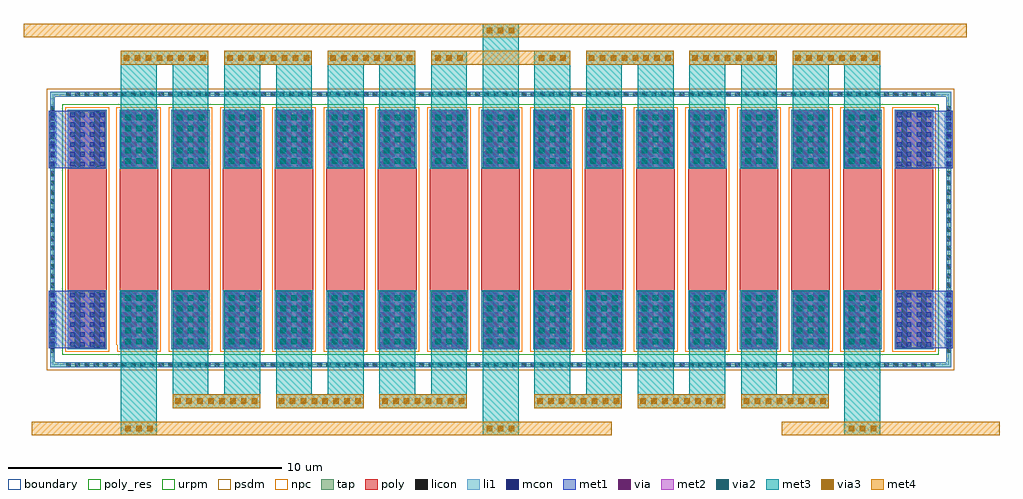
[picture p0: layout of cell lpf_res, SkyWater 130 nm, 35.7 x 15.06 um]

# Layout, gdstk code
import gdstk
lib = gdstk.Library(unit=1e-6, precision=1e-09)
def R(c, l, rs):  # rectangles x0, y0, x1, y1
    for r in rs: c.add(gdstk.rectangle(r[:2], r[2:], *l))
def A(c, l, x, y, w, h, nx, ny, dx, dy):  # array of equal rectangles
    R(c, l, [(x+i*dx, y+j*dy, x+i*dx+w, y+j*dy+h) for i in range(nx) for j in range(ny)])
tap = (65, 44)
poly_res = (66, 13)
poly = (66, 20)
licon = (66, 44)
li1 = (67, 20)
mcon = (67, 44)
met1 = (68, 20)
via = (68, 44)
met2 = (69, 20)
via2 = (69, 44)
met3 = (70, 20)
via3 = (70, 44)
met4 = (71, 20)
urpm = (79, 20)
psdm = (94, 20)
npc = (95, 20)
boundary = (235, 4)

lpf_res = lib.new_cell('lpf_res')
R(lpf_res, tap, [(-0.35,-0.35,32.6,-0.18), (-0.35,-0.18,-0.18,9.54), (32.43,-0.18,32.6,9.54), (-0.35,9.54,32.6,9.71)])
A(lpf_res, poly_res, 0.3, 2.4, 1.41, 4.56, 17, 1, 1.89, 0)
R(lpf_res, poly_res, [(0.505,6.96,0.565,7.225)])
A(lpf_res, poly, 0.3, 0.3, 1.41, 8.76, 17, 1, 1.89, 0)
A(lpf_res, licon, 0.23, -0.35, 0.17, 0.17, 94, 2, 0.34, 9.89)
A(lpf_res, licon, -0.35, 0.175, 0.17, 0.17, 1, 27, 0, 0.34)
A(lpf_res, licon, 32.43, 0.175, 0.17, 0.17, 1, 27, 0, 0.34)
R(lpf_res, licon, [(0.555,0.38,0.745,2.38), (1.265,0.38,1.455,2.38), (2.445,0.38,2.635,2.38), (3.155,0.38,3.345,2.38), (4.335,0.38,4.525,2.38), (5.045,0.38,5.235,2.38), (6.225,0.38,6.415,2.38), (6.935,0.38,7.125,2.38), (8.115,0.38,8.305,2.38), (8.825,0.38,9.015,2.38), (10.005,0.38,10.195,2.38), (10.715,0.38,10.905,2.38), (11.895,0.38,12.085,2.38), (12.605,0.38,12.795,2.38), (13.785,0.38,13.975,2.38), (14.495,0.38,14.685,2.38), (15.675,0.38,15.865,2.38), (16.385,0.38,16.575,2.38), (17.565,0.38,17.755,2.38), (18.275,0.38,18.465,2.38), (19.455,0.38,19.645,2.38), (20.165,0.38,20.355,2.38), (21.345,0.38,21.535,2.38), (22.055,0.38,22.245,2.38), (23.235,0.38,23.425,2.38), (23.945,0.38,24.135,2.38), (25.125,0.38,25.315,2.38), (25.835,0.38,26.025,2.38), (27.015,0.38,27.205,2.38), (27.725,0.38,27.915,2.38), (28.905,0.38,29.095,2.38), (29.615,0.38,29.805,2.38), (30.795,0.38,30.985,2.38), (31.505,0.38,31.695,2.38), (0.555,6.98,0.745,8.98), (1.265,6.98,1.455,8.98), (2.445,6.98,2.635,8.98), (3.155,6.98,3.345,8.98), (4.335,6.98,4.525,8.98), (5.045,6.98,5.235,8.98), (6.225,6.98,6.415,8.98), (6.935,6.98,7.125,8.98), (8.115,6.98,8.305,8.98), (8.825,6.98,9.015,8.98), (10.005,6.98,10.195,8.98), (10.715,6.98,10.905,8.98), (11.895,6.98,12.085,8.98), (12.605,6.98,12.795,8.98), (13.785,6.98,13.975,8.98), (14.495,6.98,14.685,8.98), (15.675,6.98,15.865,8.98), (16.385,6.98,16.575,8.98), (17.565,6.98,17.755,8.98), (18.275,6.98,18.465,8.98), (19.455,6.98,19.645,8.98), (20.165,6.98,20.355,8.98), (21.345,6.98,21.535,8.98), (22.055,6.98,22.245,8.98), (23.235,6.98,23.425,8.98), (23.945,6.98,24.135,8.98), (25.125,6.98,25.315,8.98), (25.835,6.98,26.025,8.98), (27.015,6.98,27.205,8.98), (27.725,6.98,27.915,8.98), (28.905,6.98,29.095,8.98), (29.615,6.98,29.805,8.98), (30.795,6.98,30.985,8.98), (31.505,6.98,31.695,8.98)])
A(lpf_res, li1, 0.3, 0.3, 1.41, 2.16, 17, 2, 1.89, 6.6)
R(lpf_res, li1, [(-0.35,-0.35,32.6,-0.18), (-0.35,-0.18,-0.18,9.54), (32.43,-0.18,32.6,9.54), (-0.35,9.54,32.6,9.71)])
A(lpf_res, mcon, 0.38, 0.395, 0.17, 0.17, 4, 6, 0.36, 0.36)
A(lpf_res, mcon, 2.27, 0.395, 0.17, 0.17, 4, 6, 0.36, 0.36)
A(lpf_res, mcon, 4.16, 0.395, 0.17, 0.17, 4, 6, 0.36, 0.36)
A(lpf_res, mcon, 6.05, 0.395, 0.17, 0.17, 4, 6, 0.36, 0.36)
A(lpf_res, mcon, 7.94, 0.395, 0.17, 0.17, 4, 6, 0.36, 0.36)
A(lpf_res, mcon, 9.83, 0.395, 0.17, 0.17, 4, 6, 0.36, 0.36)
A(lpf_res, mcon, 11.72, 0.395, 0.17, 0.17, 4, 6, 0.36, 0.36)
A(lpf_res, mcon, 13.61, 0.395, 0.17, 0.17, 4, 6, 0.36, 0.36)
A(lpf_res, mcon, 15.5, 0.395, 0.17, 0.17, 4, 6, 0.36, 0.36)
A(lpf_res, mcon, 17.39, 0.395, 0.17, 0.17, 4, 6, 0.36, 0.36)
A(lpf_res, mcon, 19.28, 0.395, 0.17, 0.17, 4, 6, 0.36, 0.36)
A(lpf_res, mcon, 21.17, 0.395, 0.17, 0.17, 4, 6, 0.36, 0.36)
A(lpf_res, mcon, 23.06, 0.395, 0.17, 0.17, 4, 6, 0.36, 0.36)
A(lpf_res, mcon, 24.95, 0.395, 0.17, 0.17, 4, 6, 0.36, 0.36)
A(lpf_res, mcon, 26.84, 0.395, 0.17, 0.17, 4, 6, 0.36, 0.36)
A(lpf_res, mcon, 28.73, 0.395, 0.17, 0.17, 4, 6, 0.36, 0.36)
A(lpf_res, mcon, 30.62, 0.395, 0.17, 0.17, 4, 6, 0.36, 0.36)
A(lpf_res, mcon, -0.35, 0.397, 0.17, 0.17, 1, 6, 0, 0.36)
A(lpf_res, mcon, 32.43, 0.397, 0.17, 0.17, 1, 6, 0, 0.36)
A(lpf_res, mcon, 0.38, 6.99, 0.17, 0.17, 4, 6, 0.36, 0.36)
A(lpf_res, mcon, 2.27, 6.99, 0.17, 0.17, 4, 6, 0.36, 0.36)
A(lpf_res, mcon, 4.16, 6.99, 0.17, 0.17, 4, 6, 0.36, 0.36)
A(lpf_res, mcon, 6.05, 6.99, 0.17, 0.17, 4, 6, 0.36, 0.36)
A(lpf_res, mcon, 7.94, 6.99, 0.17, 0.17, 4, 6, 0.36, 0.36)
A(lpf_res, mcon, 9.83, 6.99, 0.17, 0.17, 4, 6, 0.36, 0.36)
A(lpf_res, mcon, 11.72, 6.99, 0.17, 0.17, 4, 6, 0.36, 0.36)
A(lpf_res, mcon, 13.61, 6.99, 0.17, 0.17, 4, 6, 0.36, 0.36)
A(lpf_res, mcon, 15.5, 6.99, 0.17, 0.17, 4, 6, 0.36, 0.36)
A(lpf_res, mcon, 17.39, 6.99, 0.17, 0.17, 4, 6, 0.36, 0.36)
A(lpf_res, mcon, 19.28, 6.99, 0.17, 0.17, 4, 6, 0.36, 0.36)
A(lpf_res, mcon, 21.17, 6.99, 0.17, 0.17, 4, 6, 0.36, 0.36)
A(lpf_res, mcon, 23.06, 6.99, 0.17, 0.17, 4, 6, 0.36, 0.36)
A(lpf_res, mcon, 24.95, 6.99, 0.17, 0.17, 4, 6, 0.36, 0.36)
A(lpf_res, mcon, 26.84, 6.99, 0.17, 0.17, 4, 6, 0.36, 0.36)
A(lpf_res, mcon, 28.73, 6.99, 0.17, 0.17, 4, 6, 0.36, 0.36)
A(lpf_res, mcon, 30.62, 6.99, 0.17, 0.17, 4, 6, 0.36, 0.36)
A(lpf_res, mcon, -0.35, 6.992, 0.17, 0.17, 1, 6, 0, 0.36)
A(lpf_res, mcon, 32.43, 6.992, 0.17, 0.17, 1, 6, 0, 0.36)
A(lpf_res, met1, 2.24, 0.33, 1.31, 2.105, 15, 2, 1.89, 6.595)
R(lpf_res, met1, [(-0.35,0.33,1.66,2.435), (30.59,0.33,32.6,2.435), (-0.35,6.925,1.66,9.03), (30.59,6.925,32.6,9.03)])
A(lpf_res, via, 2.34, 0.507, 0.15, 0.15, 4, 6, 0.32, 0.32)
A(lpf_res, via, 4.23, 0.507, 0.15, 0.15, 4, 6, 0.32, 0.32)
A(lpf_res, via, 6.12, 0.507, 0.15, 0.15, 4, 6, 0.32, 0.32)
A(lpf_res, via, 8.01, 0.507, 0.15, 0.15, 4, 6, 0.32, 0.32)
A(lpf_res, via, 9.9, 0.507, 0.15, 0.15, 4, 6, 0.32, 0.32)
A(lpf_res, via, 11.79, 0.507, 0.15, 0.15, 4, 6, 0.32, 0.32)
A(lpf_res, via, 13.68, 0.507, 0.15, 0.15, 4, 6, 0.32, 0.32)
A(lpf_res, via, 15.57, 0.507, 0.15, 0.15, 4, 6, 0.32, 0.32)
A(lpf_res, via, 17.46, 0.507, 0.15, 0.15, 4, 6, 0.32, 0.32)
A(lpf_res, via, 19.35, 0.507, 0.15, 0.15, 4, 6, 0.32, 0.32)
A(lpf_res, via, 21.24, 0.507, 0.15, 0.15, 4, 6, 0.32, 0.32)
A(lpf_res, via, 23.13, 0.507, 0.15, 0.15, 4, 6, 0.32, 0.32)
A(lpf_res, via, 25.02, 0.507, 0.15, 0.15, 4, 6, 0.32, 0.32)
A(lpf_res, via, 26.91, 0.507, 0.15, 0.15, 4, 6, 0.32, 0.32)
A(lpf_res, via, 28.8, 0.507, 0.15, 0.15, 4, 6, 0.32, 0.32)
A(lpf_res, via, 2.34, 7.103, 0.15, 0.15, 4, 6, 0.32, 0.32)
A(lpf_res, via, 4.23, 7.103, 0.15, 0.15, 4, 6, 0.32, 0.32)
A(lpf_res, via, 6.12, 7.103, 0.15, 0.15, 4, 6, 0.32, 0.32)
A(lpf_res, via, 8.01, 7.103, 0.15, 0.15, 4, 6, 0.32, 0.32)
A(lpf_res, via, 9.9, 7.103, 0.15, 0.15, 4, 6, 0.32, 0.32)
A(lpf_res, via, 11.79, 7.103, 0.15, 0.15, 4, 6, 0.32, 0.32)
A(lpf_res, via, 13.68, 7.103, 0.15, 0.15, 4, 6, 0.32, 0.32)
A(lpf_res, via, 15.57, 7.103, 0.15, 0.15, 4, 6, 0.32, 0.32)
A(lpf_res, via, 17.46, 7.103, 0.15, 0.15, 4, 6, 0.32, 0.32)
A(lpf_res, via, 19.35, 7.103, 0.15, 0.15, 4, 6, 0.32, 0.32)
A(lpf_res, via, 21.24, 7.103, 0.15, 0.15, 4, 6, 0.32, 0.32)
A(lpf_res, via, 23.13, 7.103, 0.15, 0.15, 4, 6, 0.32, 0.32)
A(lpf_res, via, 25.02, 7.103, 0.15, 0.15, 4, 6, 0.32, 0.32)
A(lpf_res, via, 26.91, 7.103, 0.15, 0.15, 4, 6, 0.32, 0.32)
A(lpf_res, via, 28.8, 7.103, 0.15, 0.15, 4, 6, 0.32, 0.32)
A(lpf_res, via2, 2.395, 0.482, 0.2, 0.2, 3, 5, 0.4, 0.4)
A(lpf_res, via2, 4.285, 0.482, 0.2, 0.2, 3, 5, 0.4, 0.4)
A(lpf_res, via2, 6.175, 0.482, 0.2, 0.2, 3, 5, 0.4, 0.4)
A(lpf_res, via2, 8.065, 0.482, 0.2, 0.2, 3, 5, 0.4, 0.4)
A(lpf_res, via2, 9.955, 0.482, 0.2, 0.2, 3, 5, 0.4, 0.4)
A(lpf_res, via2, 11.845, 0.482, 0.2, 0.2, 3, 5, 0.4, 0.4)
A(lpf_res, via2, 13.735, 0.482, 0.2, 0.2, 3, 5, 0.4, 0.4)
A(lpf_res, via2, 15.625, 0.482, 0.2, 0.2, 3, 5, 0.4, 0.4)
A(lpf_res, via2, 17.515, 0.482, 0.2, 0.2, 3, 5, 0.4, 0.4)
A(lpf_res, via2, 19.405, 0.482, 0.2, 0.2, 3, 5, 0.4, 0.4)
A(lpf_res, via2, 21.295, 0.482, 0.2, 0.2, 3, 5, 0.4, 0.4)
A(lpf_res, via2, 23.185, 0.482, 0.2, 0.2, 3, 5, 0.4, 0.4)
A(lpf_res, via2, 25.075, 0.482, 0.2, 0.2, 3, 5, 0.4, 0.4)
A(lpf_res, via2, 26.965, 0.482, 0.2, 0.2, 3, 5, 0.4, 0.4)
A(lpf_res, via2, 28.855, 0.482, 0.2, 0.2, 3, 5, 0.4, 0.4)
A(lpf_res, via2, 2.395, 7.078, 0.2, 0.2, 3, 5, 0.4, 0.4)
A(lpf_res, via2, 4.285, 7.078, 0.2, 0.2, 3, 5, 0.4, 0.4)
A(lpf_res, via2, 6.175, 7.078, 0.2, 0.2, 3, 5, 0.4, 0.4)
A(lpf_res, via2, 8.065, 7.078, 0.2, 0.2, 3, 5, 0.4, 0.4)
A(lpf_res, via2, 9.955, 7.078, 0.2, 0.2, 3, 5, 0.4, 0.4)
A(lpf_res, via2, 11.845, 7.078, 0.2, 0.2, 3, 5, 0.4, 0.4)
A(lpf_res, via2, 13.735, 7.078, 0.2, 0.2, 3, 5, 0.4, 0.4)
A(lpf_res, via2, 15.625, 7.078, 0.2, 0.2, 3, 5, 0.4, 0.4)
A(lpf_res, via2, 17.515, 7.078, 0.2, 0.2, 3, 5, 0.4, 0.4)
A(lpf_res, via2, 19.405, 7.078, 0.2, 0.2, 3, 5, 0.4, 0.4)
A(lpf_res, via2, 21.295, 7.078, 0.2, 0.2, 3, 5, 0.4, 0.4)
A(lpf_res, via2, 23.185, 7.078, 0.2, 0.2, 3, 5, 0.4, 0.4)
A(lpf_res, via2, 25.075, 7.078, 0.2, 0.2, 3, 5, 0.4, 0.4)
A(lpf_res, via2, 26.965, 7.078, 0.2, 0.2, 3, 5, 0.4, 0.4)
A(lpf_res, via2, 28.855, 7.078, 0.2, 0.2, 3, 5, 0.4, 0.4)
A(lpf_res, met3, 2.24, -2.85, 1.31, 3.18, 3, 1, 13.23, 0)
A(lpf_res, met3, 4.13, -1.85, 1.31, 2.18, 6, 1, 1.89, 0)
A(lpf_res, met3, 17.36, -1.85, 1.31, 2.18, 6, 1, 1.89, 0)
A(lpf_res, met3, 2.24, 9.03, 1.31, 2.18, 7, 1, 1.89, 0)
A(lpf_res, met3, 17.36, 9.03, 1.31, 2.18, 7, 1, 1.89, 0)
R(lpf_res, met3, [(15.47,9.03,16.78,12.21)])
A(lpf_res, via3, 2.395, -2.7, 0.2, 0.2, 3, 1, 0.4, 0)
A(lpf_res, via3, 15.625, -2.7, 0.2, 0.2, 3, 2, 0.4, 14.56)
A(lpf_res, via3, 28.855, -2.7, 0.2, 0.2, 3, 1, 0.4, 0)
A(lpf_res, via3, 4.23, -1.7, 0.2, 0.2, 8, 1, 0.4, 0)
A(lpf_res, via3, 8.01, -1.7, 0.2, 0.2, 8, 1, 0.4, 0)
A(lpf_res, via3, 11.79, -1.7, 0.2, 0.2, 8, 1, 0.4, 0)
A(lpf_res, via3, 17.46, -1.7, 0.2, 0.2, 8, 1, 0.4, 0)
A(lpf_res, via3, 21.24, -1.7, 0.2, 0.2, 8, 1, 0.4, 0)
A(lpf_res, via3, 25.02, -1.7, 0.2, 0.2, 8, 1, 0.4, 0)
A(lpf_res, via3, 2.34, 10.86, 0.2, 0.2, 8, 1, 0.4, 0)
A(lpf_res, via3, 6.12, 10.86, 0.2, 0.2, 8, 1, 0.4, 0)
A(lpf_res, via3, 9.9, 10.86, 0.2, 0.2, 8, 1, 0.4, 0)
A(lpf_res, via3, 13.735, 10.86, 0.2, 0.2, 3, 1, 0.4, 0)
A(lpf_res, via3, 17.515, 10.86, 0.2, 0.2, 3, 1, 0.4, 0)
A(lpf_res, via3, 19.35, 10.86, 0.2, 0.2, 8, 1, 0.4, 0)
A(lpf_res, via3, 23.13, 10.86, 0.2, 0.2, 8, 1, 0.4, 0)
A(lpf_res, via3, 26.91, 10.86, 0.2, 0.2, 8, 1, 0.4, 0)
R(lpf_res, urpm, [(0.1,0.1,32.15,9.26)])
R(lpf_res, psdm, [(-0.475,-0.475,32.725,9.835)])
A(lpf_res, npc, 0.205, 0.205, 1.6, 8.95, 17, 1, 1.89, 0)
R(lpf_res, npc, [(2.07,0.47,2.095,9.155)])
R(lpf_res, boundary, [(-0.265,-0.265,32.515,9.625)])
lpf_res.add(gdstk.FlexPath([(4.13,7.978),(5.44,7.978)], 2.105, ends="flush", simple_path=True, layer=70, datatype=20))  # met3
lpf_res.add(gdstk.FlexPath([(6.02,7.978),(7.33,7.978)], 2.105, ends="flush", simple_path=True, layer=70, datatype=20))  # met3
lpf_res.add(gdstk.FlexPath([(7.91,7.978),(9.22,7.978)], 2.105, ends="flush", simple_path=True, layer=70, datatype=20))  # met3
lpf_res.add(gdstk.FlexPath([(9.8,7.978),(11.11,7.978)], 2.105, ends="flush", simple_path=True, layer=70, datatype=20))  # met3
lpf_res.add(gdstk.FlexPath([(11.69,7.978),(13,7.978)], 2.105, ends="flush", simple_path=True, layer=70, datatype=20))  # met3
lpf_res.add(gdstk.FlexPath([(13.58,7.978),(14.89,7.978)], 2.105, ends="flush", simple_path=True, layer=70, datatype=20))  # met3
lpf_res.add(gdstk.FlexPath([(15.47,7.978),(16.78,7.978)], 2.105, ends="flush", simple_path=True, layer=70, datatype=20))  # met3
lpf_res.add(gdstk.FlexPath([(17.36,7.978),(18.67,7.978)], 2.105, ends="flush", simple_path=True, layer=70, datatype=20))  # met3
lpf_res.add(gdstk.FlexPath([(19.25,7.978),(20.56,7.978)], 2.105, ends="flush", simple_path=True, layer=70, datatype=20))  # met3
lpf_res.add(gdstk.FlexPath([(21.14,7.978),(22.45,7.978)], 2.105, ends="flush", simple_path=True, layer=70, datatype=20))  # met3
lpf_res.add(gdstk.FlexPath([(23.03,7.978),(24.34,7.978)], 2.105, ends="flush", simple_path=True, layer=70, datatype=20))  # met3
lpf_res.add(gdstk.FlexPath([(24.92,7.978),(26.23,7.978)], 2.105, ends="flush", simple_path=True, layer=70, datatype=20))  # met3
lpf_res.add(gdstk.FlexPath([(26.81,7.978),(28.12,7.978)], 2.105, ends="flush", simple_path=True, layer=70, datatype=20))  # met3
lpf_res.add(gdstk.FlexPath([(28.7,7.978),(30.01,7.978)], 2.105, ends="flush", simple_path=True, layer=70, datatype=20))  # met3
lpf_res.add(gdstk.FlexPath([(2.24,7.978),(3.55,7.978)], 2.105, ends="flush", simple_path=True, layer=70, datatype=20))  # met3
lpf_res.add(gdstk.FlexPath([(2.24,1.382),(3.55,1.382)], 2.105, ends="flush", simple_path=True, layer=70, datatype=20))  # met3
lpf_res.add(gdstk.FlexPath([(4.13,1.382),(5.44,1.382)], 2.105, ends="flush", simple_path=True, layer=70, datatype=20))  # met3
lpf_res.add(gdstk.FlexPath([(6.02,1.382),(7.33,1.382)], 2.105, ends="flush", simple_path=True, layer=70, datatype=20))  # met3
lpf_res.add(gdstk.FlexPath([(7.91,1.382),(9.22,1.382)], 2.105, ends="flush", simple_path=True, layer=70, datatype=20))  # met3
lpf_res.add(gdstk.FlexPath([(9.8,1.382),(11.11,1.382)], 2.105, ends="flush", simple_path=True, layer=70, datatype=20))  # met3
lpf_res.add(gdstk.FlexPath([(11.69,1.382),(13,1.382)], 2.105, ends="flush", simple_path=True, layer=70, datatype=20))  # met3
lpf_res.add(gdstk.FlexPath([(13.58,1.382),(14.89,1.382)], 2.105, ends="flush", simple_path=True, layer=70, datatype=20))  # met3
lpf_res.add(gdstk.FlexPath([(15.47,1.382),(16.78,1.382)], 2.105, ends="flush", simple_path=True, layer=70, datatype=20))  # met3
lpf_res.add(gdstk.FlexPath([(17.36,1.382),(18.67,1.382)], 2.105, ends="flush", simple_path=True, layer=70, datatype=20))  # met3
lpf_res.add(gdstk.FlexPath([(19.25,1.382),(20.56,1.382)], 2.105, ends="flush", simple_path=True, layer=70, datatype=20))  # met3
lpf_res.add(gdstk.FlexPath([(21.14,1.382),(22.45,1.382)], 2.105, ends="flush", simple_path=True, layer=70, datatype=20))  # met3
lpf_res.add(gdstk.FlexPath([(23.03,1.382),(24.34,1.382)], 2.105, ends="flush", simple_path=True, layer=70, datatype=20))  # met3
lpf_res.add(gdstk.FlexPath([(24.92,1.382),(26.23,1.382)], 2.105, ends="flush", simple_path=True, layer=70, datatype=20))  # met3
lpf_res.add(gdstk.FlexPath([(26.81,1.382),(28.12,1.382)], 2.105, ends="flush", simple_path=True, layer=70, datatype=20))  # met3
lpf_res.add(gdstk.FlexPath([(28.7,1.382),(30.01,1.382)], 2.105, ends="flush", simple_path=True, layer=70, datatype=20))  # met3
lpf_res.add(gdstk.FlexPath([(3.84,11.21),(3.84,10.71)], 3.2, ends="flush", simple_path=True, layer=70, datatype=20))  # met3
lpf_res.add(gdstk.FlexPath([(7.62,11.21),(7.62,10.71)], 3.2, ends="flush", simple_path=True, layer=70, datatype=20))  # met3
lpf_res.add(gdstk.FlexPath([(11.4,11.21),(11.4,10.71)], 3.2, ends="flush", simple_path=True, layer=70, datatype=20))  # met3
lpf_res.add(gdstk.FlexPath([(5.73,-1.35),(5.73,-1.85)], 3.2, ends="flush", simple_path=True, layer=70, datatype=20))  # met3
lpf_res.add(gdstk.FlexPath([(9.51,-1.35),(9.51,-1.85)], 3.2, ends="flush", simple_path=True, layer=70, datatype=20))  # met3
lpf_res.add(gdstk.FlexPath([(13.29,-1.35),(13.29,-1.85)], 3.2, ends="flush", simple_path=True, layer=70, datatype=20))  # met3
lpf_res.add(gdstk.FlexPath([(18.96,-1.35),(18.96,-1.85)], 3.2, ends="flush", simple_path=True, layer=70, datatype=20))  # met3
lpf_res.add(gdstk.FlexPath([(22.74,-1.35),(22.74,-1.85)], 3.2, ends="flush", simple_path=True, layer=70, datatype=20))  # met3
lpf_res.add(gdstk.FlexPath([(26.52,-1.35),(26.52,-1.85)], 3.2, ends="flush", simple_path=True, layer=70, datatype=20))  # met3
lpf_res.add(gdstk.FlexPath([(14.235,11.21),(14.235,10.71)], 1.31, ends="flush", simple_path=True, layer=70, datatype=20))  # met3
lpf_res.add(gdstk.FlexPath([(18.015,11.21),(18.015,10.71)], 1.31, ends="flush", simple_path=True, layer=70, datatype=20))  # met3
lpf_res.add(gdstk.FlexPath([(20.85,11.21),(20.85,10.71)], 3.2, ends="flush", simple_path=True, layer=70, datatype=20))  # met3
lpf_res.add(gdstk.FlexPath([(24.63,11.21),(24.63,10.71)], 3.2, ends="flush", simple_path=True, layer=70, datatype=20))  # met3
lpf_res.add(gdstk.FlexPath([(28.41,11.21),(28.41,10.71)], 3.2, ends="flush", simple_path=True, layer=70, datatype=20))  # met3
lpf_res.add(gdstk.FlexPath([(16.125,12.21),(16.125,11.71)], 1.31, ends="flush", simple_path=True, layer=70, datatype=20))  # met3
lpf_res.add(gdstk.FlexPath([(2.895,-2.35),(2.895,-2.85)], 1.31, ends="flush", simple_path=True, layer=70, datatype=20))  # met3
lpf_res.add(gdstk.FlexPath([(16.125,-2.35),(16.125,-2.85)], 1.31, ends="flush", simple_path=True, layer=70, datatype=20))  # met3
lpf_res.add(gdstk.FlexPath([(29.355,-2.35),(29.355,-2.85)], 1.31, ends="flush", simple_path=True, layer=70, datatype=20))  # met3
lpf_res.add(gdstk.FlexPath([(2.24,10.96),(5.44,10.96)], 0.5, ends="flush", simple_path=True, layer=71, datatype=20))  # met4
lpf_res.add(gdstk.FlexPath([(6.02,10.96),(9.22,10.96)], 0.5, ends="flush", simple_path=True, layer=71, datatype=20))  # met4
lpf_res.add(gdstk.FlexPath([(9.8,10.96),(13,10.96)], 0.5, ends="flush", simple_path=True, layer=71, datatype=20))  # met4
lpf_res.add(gdstk.FlexPath([(13.58,10.96),(18.67,10.96)], 0.5, ends="flush", simple_path=True, layer=71, datatype=20))  # met4
lpf_res.add(gdstk.FlexPath([(20.56,-1.6),(17.36,-1.6)], 0.5, ends="flush", simple_path=True, layer=71, datatype=20))  # met4
lpf_res.add(gdstk.FlexPath([(24.34,-1.6),(21.14,-1.6)], 0.5, ends="flush", simple_path=True, layer=71, datatype=20))  # met4
lpf_res.add(gdstk.FlexPath([(28.12,-1.6),(24.92,-1.6)], 0.5, ends="flush", simple_path=True, layer=71, datatype=20))  # met4
lpf_res.add(gdstk.FlexPath([(7.33,-1.6),(4.13,-1.6)], 0.5, ends="flush", simple_path=True, layer=71, datatype=20))  # met4
lpf_res.add(gdstk.FlexPath([(11.11,-1.6),(7.91,-1.6)], 0.5, ends="flush", simple_path=True, layer=71, datatype=20))  # met4
lpf_res.add(gdstk.FlexPath([(14.89,-1.6),(11.69,-1.6)], 0.5, ends="flush", simple_path=True, layer=71, datatype=20))  # met4
lpf_res.add(gdstk.FlexPath([(23.03,10.96),(26.23,10.96)], 0.5, ends="flush", simple_path=True, layer=71, datatype=20))  # met4
lpf_res.add(gdstk.FlexPath([(26.81,10.96),(30.01,10.96)], 0.5, ends="flush", simple_path=True, layer=71, datatype=20))  # met4
lpf_res.add(gdstk.FlexPath([(-1.326,11.96),(33.18,11.96)], 0.5, ends="flush", simple_path=True, layer=71, datatype=20))  # met4
lpf_res.add(gdstk.FlexPath([(20.189,-2.6),(-1.018,-2.6)], 0.5, ends="flush", simple_path=True, layer=71, datatype=20))  # met4
lpf_res.add(gdstk.FlexPath([(34.372,-2.6),(26.402,-2.6)], 0.5, ends="flush", simple_path=True, layer=71, datatype=20))  # met4
lpf_res.add(gdstk.FlexPath([(2.24,10.96),(5.44,10.96)], 0.5, ends="flush", simple_path=True, layer=71, datatype=20))  # met4
lpf_res.add(gdstk.FlexPath([(19.25,10.96),(22.45,10.96)], 0.5, ends="flush", simple_path=True, layer=71, datatype=20))  # met4
lpf_res.add(gdstk.FlexPath([(9.8,10.96),(13,10.96)], 0.5, ends="flush", simple_path=True, layer=71, datatype=20))  # met4
lpf_res.add(gdstk.FlexPath([(3.84,11.21),(3.84,10.71)], 3.2, ends="flush", simple_path=True, layer=71, datatype=20))  # met4
lpf_res.add(gdstk.FlexPath([(7.62,11.21),(7.62,10.71)], 3.2, ends="flush", simple_path=True, layer=71, datatype=20))  # met4
lpf_res.add(gdstk.FlexPath([(11.4,11.21),(11.4,10.71)], 3.2, ends="flush", simple_path=True, layer=71, datatype=20))  # met4
lpf_res.add(gdstk.FlexPath([(5.73,-1.35),(5.73,-1.85)], 3.2, ends="flush", simple_path=True, layer=71, datatype=20))  # met4
lpf_res.add(gdstk.FlexPath([(9.51,-1.35),(9.51,-1.85)], 3.2, ends="flush", simple_path=True, layer=71, datatype=20))  # met4
lpf_res.add(gdstk.FlexPath([(13.29,-1.35),(13.29,-1.85)], 3.2, ends="flush", simple_path=True, layer=71, datatype=20))  # met4
lpf_res.add(gdstk.FlexPath([(18.96,-1.35),(18.96,-1.85)], 3.2, ends="flush", simple_path=True, layer=71, datatype=20))  # met4
lpf_res.add(gdstk.FlexPath([(22.74,-1.35),(22.74,-1.85)], 3.2, ends="flush", simple_path=True, layer=71, datatype=20))  # met4
lpf_res.add(gdstk.FlexPath([(26.52,-1.35),(26.52,-1.85)], 3.2, ends="flush", simple_path=True, layer=71, datatype=20))  # met4
lpf_res.add(gdstk.FlexPath([(14.235,11.21),(14.235,10.71)], 1.31, ends="flush", simple_path=True, layer=71, datatype=20))  # met4
lpf_res.add(gdstk.FlexPath([(18.015,11.21),(18.015,10.71)], 1.31, ends="flush", simple_path=True, layer=71, datatype=20))  # met4
lpf_res.add(gdstk.FlexPath([(20.85,11.21),(20.85,10.71)], 3.2, ends="flush", simple_path=True, layer=71, datatype=20))  # met4
lpf_res.add(gdstk.FlexPath([(24.63,11.21),(24.63,10.71)], 3.2, ends="flush", simple_path=True, layer=71, datatype=20))  # met4
lpf_res.add(gdstk.FlexPath([(28.41,11.21),(28.41,10.71)], 3.2, ends="flush", simple_path=True, layer=71, datatype=20))  # met4
lpf_res.add(gdstk.FlexPath([(16.125,12.21),(16.125,11.71)], 1.31, ends="flush", simple_path=True, layer=71, datatype=20))  # met4
lpf_res.add(gdstk.FlexPath([(2.895,-2.35),(2.895,-2.85)], 1.31, ends="flush", simple_path=True, layer=71, datatype=20))  # met4
lpf_res.add(gdstk.FlexPath([(16.125,-2.35),(16.125,-2.85)], 1.31, ends="flush", simple_path=True, layer=71, datatype=20))  # met4
lpf_res.add(gdstk.FlexPath([(29.355,-2.35),(29.355,-2.85)], 1.31, ends="flush", simple_path=True, layer=71, datatype=20))  # met4
lpf_res.add(gdstk.FlexPath([(-0.41,7.977),(-0.12,7.977)], 2.105, ends="flush", simple_path=True, layer=68, datatype=20))  # met1
lpf_res.add(gdstk.FlexPath([(-0.41,1.382),(-0.12,1.382)], 2.105, ends="flush", simple_path=True, layer=68, datatype=20))  # met1
lpf_res.add(gdstk.FlexPath([(32.37,1.382),(32.66,1.382)], 2.105, ends="flush", simple_path=True, layer=68, datatype=20))  # met1
lpf_res.add(gdstk.FlexPath([(32.37,7.977),(32.66,7.977)], 2.105, ends="flush", simple_path=True, layer=68, datatype=20))  # met1
lpf_res.add(gdstk.FlexPath([(4.13,7.978),(5.44,7.978)], 2.105, ends="flush", simple_path=True, layer=68, datatype=20))  # met1
lpf_res.add(gdstk.FlexPath([(6.02,7.978),(7.33,7.978)], 2.105, ends="flush", simple_path=True, layer=68, datatype=20))  # met1
lpf_res.add(gdstk.FlexPath([(7.91,7.978),(9.22,7.978)], 2.105, ends="flush", simple_path=True, layer=68, datatype=20))  # met1
lpf_res.add(gdstk.FlexPath([(9.8,7.978),(11.11,7.978)], 2.105, ends="flush", simple_path=True, layer=68, datatype=20))  # met1
lpf_res.add(gdstk.FlexPath([(11.69,7.978),(13,7.978)], 2.105, ends="flush", simple_path=True, layer=68, datatype=20))  # met1
lpf_res.add(gdstk.FlexPath([(13.58,7.978),(14.89,7.978)], 2.105, ends="flush", simple_path=True, layer=68, datatype=20))  # met1
lpf_res.add(gdstk.FlexPath([(15.47,7.978),(16.78,7.978)], 2.105, ends="flush", simple_path=True, layer=68, datatype=20))  # met1
lpf_res.add(gdstk.FlexPath([(17.36,7.978),(18.67,7.978)], 2.105, ends="flush", simple_path=True, layer=68, datatype=20))  # met1
lpf_res.add(gdstk.FlexPath([(19.25,7.978),(20.56,7.978)], 2.105, ends="flush", simple_path=True, layer=68, datatype=20))  # met1
lpf_res.add(gdstk.FlexPath([(21.14,7.978),(22.45,7.978)], 2.105, ends="flush", simple_path=True, layer=68, datatype=20))  # met1
lpf_res.add(gdstk.FlexPath([(23.03,7.978),(24.34,7.978)], 2.105, ends="flush", simple_path=True, layer=68, datatype=20))  # met1
lpf_res.add(gdstk.FlexPath([(24.92,7.978),(26.23,7.978)], 2.105, ends="flush", simple_path=True, layer=68, datatype=20))  # met1
lpf_res.add(gdstk.FlexPath([(26.81,7.978),(28.12,7.978)], 2.105, ends="flush", simple_path=True, layer=68, datatype=20))  # met1
lpf_res.add(gdstk.FlexPath([(28.7,7.978),(30.01,7.978)], 2.105, ends="flush", simple_path=True, layer=68, datatype=20))  # met1
lpf_res.add(gdstk.FlexPath([(2.24,7.978),(3.55,7.978)], 2.105, ends="flush", simple_path=True, layer=68, datatype=20))  # met1
lpf_res.add(gdstk.FlexPath([(2.24,1.382),(3.55,1.382)], 2.105, ends="flush", simple_path=True, layer=68, datatype=20))  # met1
lpf_res.add(gdstk.FlexPath([(4.13,1.382),(5.44,1.382)], 2.105, ends="flush", simple_path=True, layer=68, datatype=20))  # met1
lpf_res.add(gdstk.FlexPath([(6.02,1.382),(7.33,1.382)], 2.105, ends="flush", simple_path=True, layer=68, datatype=20))  # met1
lpf_res.add(gdstk.FlexPath([(7.91,1.382),(9.22,1.382)], 2.105, ends="flush", simple_path=True, layer=68, datatype=20))  # met1
lpf_res.add(gdstk.FlexPath([(9.8,1.382),(11.11,1.382)], 2.105, ends="flush", simple_path=True, layer=68, datatype=20))  # met1
lpf_res.add(gdstk.FlexPath([(11.69,1.382),(13,1.382)], 2.105, ends="flush", simple_path=True, layer=68, datatype=20))  # met1
lpf_res.add(gdstk.FlexPath([(13.58,1.382),(14.89,1.382)], 2.105, ends="flush", simple_path=True, layer=68, datatype=20))  # met1
lpf_res.add(gdstk.FlexPath([(15.47,1.382),(16.78,1.382)], 2.105, ends="flush", simple_path=True, layer=68, datatype=20))  # met1
lpf_res.add(gdstk.FlexPath([(17.36,1.382),(18.67,1.382)], 2.105, ends="flush", simple_path=True, layer=68, datatype=20))  # met1
lpf_res.add(gdstk.FlexPath([(19.25,1.382),(20.56,1.382)], 2.105, ends="flush", simple_path=True, layer=68, datatype=20))  # met1
lpf_res.add(gdstk.FlexPath([(21.14,1.382),(22.45,1.382)], 2.105, ends="flush", simple_path=True, layer=68, datatype=20))  # met1
lpf_res.add(gdstk.FlexPath([(23.03,1.382),(24.34,1.382)], 2.105, ends="flush", simple_path=True, layer=68, datatype=20))  # met1
lpf_res.add(gdstk.FlexPath([(24.92,1.382),(26.23,1.382)], 2.105, ends="flush", simple_path=True, layer=68, datatype=20))  # met1
lpf_res.add(gdstk.FlexPath([(26.81,1.382),(28.12,1.382)], 2.105, ends="flush", simple_path=True, layer=68, datatype=20))  # met1
lpf_res.add(gdstk.FlexPath([(28.7,1.382),(30.01,1.382)], 2.105, ends="flush", simple_path=True, layer=68, datatype=20))  # met1
lpf_res.add(gdstk.FlexPath([(4.13,7.978),(5.44,7.978)], 2.105, ends="flush", simple_path=True, layer=69, datatype=20))  # met2
lpf_res.add(gdstk.FlexPath([(6.02,7.978),(7.33,7.978)], 2.105, ends="flush", simple_path=True, layer=69, datatype=20))  # met2
lpf_res.add(gdstk.FlexPath([(7.91,7.978),(9.22,7.978)], 2.105, ends="flush", simple_path=True, layer=69, datatype=20))  # met2
lpf_res.add(gdstk.FlexPath([(9.8,7.978),(11.11,7.978)], 2.105, ends="flush", simple_path=True, layer=69, datatype=20))  # met2
lpf_res.add(gdstk.FlexPath([(11.69,7.978),(13,7.978)], 2.105, ends="flush", simple_path=True, layer=69, datatype=20))  # met2
lpf_res.add(gdstk.FlexPath([(13.58,7.978),(14.89,7.978)], 2.105, ends="flush", simple_path=True, layer=69, datatype=20))  # met2
lpf_res.add(gdstk.FlexPath([(15.47,7.978),(16.78,7.978)], 2.105, ends="flush", simple_path=True, layer=69, datatype=20))  # met2
lpf_res.add(gdstk.FlexPath([(17.36,7.978),(18.67,7.978)], 2.105, ends="flush", simple_path=True, layer=69, datatype=20))  # met2
lpf_res.add(gdstk.FlexPath([(19.25,7.978),(20.56,7.978)], 2.105, ends="flush", simple_path=True, layer=69, datatype=20))  # met2
lpf_res.add(gdstk.FlexPath([(21.14,7.978),(22.45,7.978)], 2.105, ends="flush", simple_path=True, layer=69, datatype=20))  # met2
lpf_res.add(gdstk.FlexPath([(23.03,7.978),(24.34,7.978)], 2.105, ends="flush", simple_path=True, layer=69, datatype=20))  # met2
lpf_res.add(gdstk.FlexPath([(24.92,7.978),(26.23,7.978)], 2.105, ends="flush", simple_path=True, layer=69, datatype=20))  # met2
lpf_res.add(gdstk.FlexPath([(26.81,7.978),(28.12,7.978)], 2.105, ends="flush", simple_path=True, layer=69, datatype=20))  # met2
lpf_res.add(gdstk.FlexPath([(28.7,7.978),(30.01,7.978)], 2.105, ends="flush", simple_path=True, layer=69, datatype=20))  # met2
lpf_res.add(gdstk.FlexPath([(2.24,7.978),(3.55,7.978)], 2.105, ends="flush", simple_path=True, layer=69, datatype=20))  # met2
lpf_res.add(gdstk.FlexPath([(2.24,1.382),(3.55,1.382)], 2.105, ends="flush", simple_path=True, layer=69, datatype=20))  # met2
lpf_res.add(gdstk.FlexPath([(4.13,1.382),(5.44,1.382)], 2.105, ends="flush", simple_path=True, layer=69, datatype=20))  # met2
lpf_res.add(gdstk.FlexPath([(6.02,1.382),(7.33,1.382)], 2.105, ends="flush", simple_path=True, layer=69, datatype=20))  # met2
lpf_res.add(gdstk.FlexPath([(7.91,1.382),(9.22,1.382)], 2.105, ends="flush", simple_path=True, layer=69, datatype=20))  # met2
lpf_res.add(gdstk.FlexPath([(9.8,1.382),(11.11,1.382)], 2.105, ends="flush", simple_path=True, layer=69, datatype=20))  # met2
lpf_res.add(gdstk.FlexPath([(11.69,1.382),(13,1.382)], 2.105, ends="flush", simple_path=True, layer=69, datatype=20))  # met2
lpf_res.add(gdstk.FlexPath([(13.58,1.382),(14.89,1.382)], 2.105, ends="flush", simple_path=True, layer=69, datatype=20))  # met2
lpf_res.add(gdstk.FlexPath([(15.47,1.382),(16.78,1.382)], 2.105, ends="flush", simple_path=True, layer=69, datatype=20))  # met2
lpf_res.add(gdstk.FlexPath([(17.36,1.382),(18.67,1.382)], 2.105, ends="flush", simple_path=True, layer=69, datatype=20))  # met2
lpf_res.add(gdstk.FlexPath([(19.25,1.382),(20.56,1.382)], 2.105, ends="flush", simple_path=True, layer=69, datatype=20))  # met2
lpf_res.add(gdstk.FlexPath([(21.14,1.382),(22.45,1.382)], 2.105, ends="flush", simple_path=True, layer=69, datatype=20))  # met2
lpf_res.add(gdstk.FlexPath([(23.03,1.382),(24.34,1.382)], 2.105, ends="flush", simple_path=True, layer=69, datatype=20))  # met2
lpf_res.add(gdstk.FlexPath([(24.92,1.382),(26.23,1.382)], 2.105, ends="flush", simple_path=True, layer=69, datatype=20))  # met2
lpf_res.add(gdstk.FlexPath([(26.81,1.382),(28.12,1.382)], 2.105, ends="flush", simple_path=True, layer=69, datatype=20))  # met2
lpf_res.add(gdstk.FlexPath([(28.7,1.382),(30.01,1.382)], 2.105, ends="flush", simple_path=True, layer=69, datatype=20))  # met2
lpf_res.add(gdstk.FlexPath([(-0.41,7.977),(-0.12,7.977)], 2.105, ends="flush", simple_path=True, layer=67, datatype=20))  # li1
lpf_res.add(gdstk.FlexPath([(-0.41,1.382),(-0.12,1.382)], 2.105, ends="flush", simple_path=True, layer=67, datatype=20))  # li1
lpf_res.add(gdstk.FlexPath([(32.37,1.382),(32.66,1.382)], 2.105, ends="flush", simple_path=True, layer=67, datatype=20))  # li1
lpf_res.add(gdstk.FlexPath([(32.37,7.977),(32.66,7.977)], 2.105, ends="flush", simple_path=True, layer=67, datatype=20))  # li1

lib.write_gds('lpf_res.gds')
